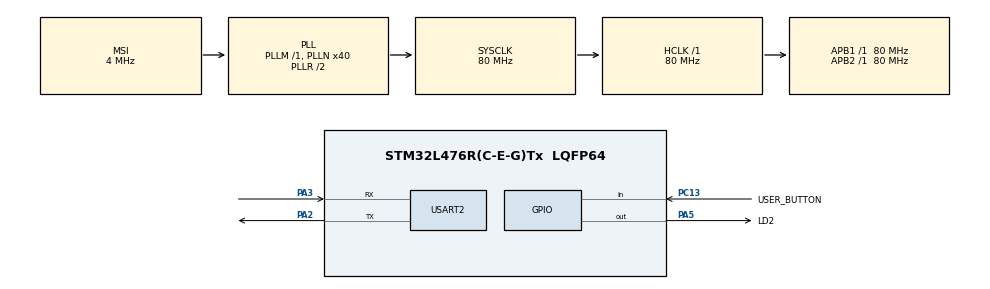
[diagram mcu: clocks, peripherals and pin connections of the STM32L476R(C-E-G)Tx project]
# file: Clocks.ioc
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IWDG.Prescaler=IWDG_PRESCALER_32
Mcu.Family=STM32L4
Mcu.Name=STM32L476R(C-E-G)Tx
Mcu.Package=LQFP64
NVIC.PriorityGroup=NVIC_PRIORITYGROUP_4
PA13\ (JTMS-SWDIO).Mode=Serial_Wire
PA13\ (JTMS-SWDIO).Signal=SYS_JTMS-SWDIO
PA14\ (JTCK-SWCLK).Mode=Serial_Wire
PA14\ (JTCK-SWCLK).Signal=SYS_JTCK-SWCLK
PA2.Mode=Asynchronous
PA2.Signal=USART2_TX
PA3.Mode=Asynchronous
PA3.Signal=USART2_RX
PA5.GPIO_Label=LD2
PA5.Signal=GPIO_Output
PC13.GPIO_Label=USER_BUTTON
PC13.Signal=GPIO_Input
PC14-OSC32_IN\ (PC14).Mode=LSE-External-Oscillator
PC14-OSC32_IN\ (PC14).Signal=RCC_OSC32_IN
PC15-OSC32_OUT\ (PC15).Mode=LSE-External-Oscillator
PC15-OSC32_OUT\ (PC15).Signal=RCC_OSC32_OUT
ProjectManager.HeapSize=0x200
ProjectManager.StackSize=0x400
ProjectManager.TargetToolchain=STM32CubeIDE
RCC.AHBFreq_Value=80000000
RCC.APB1Freq_Value=80000000
RCC.APB1TimFreq_Value=80000000
RCC.APB2Freq_Value=80000000
RCC.APB2TimFreq_Value=80000000
RCC.CortexFreq_Value=80000000
RCC.HCLKFreq_Value=80000000
RCC.HSE_VALUE=8000000
RCC.HSI_VALUE=16000000
RCC.MSI_VALUE=4000000
RCC.PLLN=40
RCC.RTCClockSelection=RCC_RTCCLKSOURCE_LSE
RCC.SYSCLKFreq_VALUE=80000000
RCC.SYSCLKSource=RCC_SYSCLKSOURCE_PLLCLK
RCC.VCOOutputFreq_Value=160000000
USART2.VirtualMode-Asynchronous=VM_ASYNC
VP_IWDG_VS_IWDG.Mode=IWDG_Activate
VP_RTC_VS_RTC_Activate.Mode=RTC_Enabled
board=custom

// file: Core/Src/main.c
/* USER CODE BEGIN Header */
/**
  ******************************************************************************
  * @file           : main.c
  * @brief          : Main program body
  ******************************************************************************
  * @attention
  *
  * Copyright (c) 2022 STMicroelectronics.
  * All rights reserved.
  *
  * This software is licensed under terms that can be found in the LICENSE file
  * in the root directory of this software component.
  * If no LICENSE file comes with this software, it is provided AS-IS.
  *
  ******************************************************************************
  */
/* USER CODE END Header */
#include "main.h"

/* USER CODE BEGIN Includes */
#include <stdio.h>
#include <string.h>
#include <stdbool.h>
/* USER CODE END Includes */

IWDG_HandleTypeDef hiwdg;

RTC_HandleTypeDef hrtc;

UART_HandleTypeDef huart2;

void SystemClock_Config(void);
static void MX_GPIO_Init(void);
static void MX_USART2_UART_Init(void);
static void MX_RTC_Init(void);
static void MX_IWDG_Init(void);

/* USER CODE BEGIN 0 */

int __io_putchar(int ch)
{
	if ( ch=='\n')
	{
		uint8_t ch2 = '\r';
		HAL_UART_Transmit(&huart2, (uint8_t*)&ch2, 1, HAL_MAX_DELAY);
	}
	HAL_UART_Transmit(&huart2, (uint8_t*)&ch, 1, HAL_MAX_DELAY);
	return 1;
}

bool is_button_pressed(void)
{
	if ( HAL_GPIO_ReadPin(USER_BUTTON_GPIO_Port, USER_BUTTON_Pin) == GPIO_PIN_RESET )
	{
		return true;
	}
	else
	{
		return false;
	}
}

/* USER CODE END 0 */

int main(void)
{

  /* MCU Configuration--------------------------------------------------------*/

  /* Reset of all peripherals, Initializes the Flash interface and the Systick. */
  HAL_Init();

  /* Configure the system clock */
  SystemClock_Config();

  /* Initialize all configured peripherals */
  MX_GPIO_Init();
  MX_USART2_UART_Init();
  MX_RTC_Init();
  MX_IWDG_Init();
  /* USER CODE BEGIN 2 */

  RTC_TimeTypeDef time;
  RTC_DateTypeDef date;
  RTC_TimeTypeDef new_time = {0};
  RTC_DateTypeDef new_date = {0};

  new_time.Hours = 11;
  new_time.Minutes = 59;
  new_time.Seconds = 50;
  new_date.Year = 22;
  new_date.Month = 12;
  new_date.Date = 5;
  new_date.WeekDay = RTC_WEEKDAY_MONDAY;

  HAL_RTC_SetTime(&hrtc, &new_time, RTC_FORMAT_BIN);
  HAL_RTC_SetDate(&hrtc, &new_date, RTC_FORMAT_BIN);

  int i;

  for (i = 0; i < 10; i++)
	  {
	  	  HAL_GPIO_TogglePin(LD2_GPIO_Port, LD2_Pin);
	  	  HAL_Delay(100);
	  }

  uint32_t last_ms = HAL_GetTick();

  /* USER CODE END 2 */

  /* Infinite loop */
  /* USER CODE BEGIN WHILE */
  while (1)
  {

	  HAL_RTC_GetTime(&hrtc, &time, RTC_FORMAT_BIN);
	  HAL_RTC_GetDate(&hrtc, &date, RTC_FORMAT_BIN);
	  printf("Current time: %02d:%02d:%02d\n", time.Hours, time.Minutes, time.Seconds);
	  printf("RTC: %04d-%02d-%02d, %02d:%02d:%02d\n", 2000 + date.Year, date.Month, date.Date, time.Hours, time.Minutes, time.Seconds);
	  HAL_Delay(1000);

	  uint32_t now = HAL_GetTick();

	  if ( is_button_pressed())
	  {
		  while(1) {}
	  }

	  if ( now - last_ms >= 500 )
	  {
		  HAL_GPIO_TogglePin(LD2_GPIO_Port, LD2_Pin);
		  last_ms = now;

		  HAL_IWDG_Refresh(&hiwdg);
	  }

    /* USER CODE END WHILE */

  }
}

void SystemClock_Config(void)
{
  RCC_OscInitTypeDef RCC_OscInitStruct = {0};
  RCC_ClkInitTypeDef RCC_ClkInitStruct = {0};

  /** Configure the main internal regulator output voltage
  */
  if (HAL_PWREx_ControlVoltageScaling(PWR_REGULATOR_VOLTAGE_SCALE1) != HAL_OK)
  {
    Error_Handler();
  }

  /** Configure LSE Drive Capability
  */
  HAL_PWR_EnableBkUpAccess();
  __HAL_RCC_LSEDRIVE_CONFIG(RCC_LSEDRIVE_LOW);

  /** Initializes the RCC Oscillators according to the specified parameters
  * in the RCC_OscInitTypeDef structure.
  */
  RCC_OscInitStruct.OscillatorType = RCC_OSCILLATORTYPE_LSI|RCC_OSCILLATORTYPE_LSE
                              |RCC_OSCILLATORTYPE_MSI;
  RCC_OscInitStruct.LSEState = RCC_LSE_ON;
  RCC_OscInitStruct.LSIState = RCC_LSI_ON;
  RCC_OscInitStruct.MSIState = RCC_MSI_ON;
  RCC_OscInitStruct.MSICalibrationValue = 0;
  RCC_OscInitStruct.MSIClockRange = RCC_MSIRANGE_6;
  RCC_OscInitStruct.PLL.PLLState = RCC_PLL_ON;
  RCC_OscInitStruct.PLL.PLLSource = RCC_PLLSOURCE_MSI;
  RCC_OscInitStruct.PLL.PLLM = 1;
  RCC_OscInitStruct.PLL.PLLN = 40;
  RCC_OscInitStruct.PLL.PLLP = RCC_PLLP_DIV7;
  RCC_OscInitStruct.PLL.PLLQ = RCC_PLLQ_DIV2;
  RCC_OscInitStruct.PLL.PLLR = RCC_PLLR_DIV2;
  if (HAL_RCC_OscConfig(&RCC_OscInitStruct) != HAL_OK)
  {
    Error_Handler();
  }

  /** Initializes the CPU, AHB and APB buses clocks
  */
  RCC_ClkInitStruct.ClockType = RCC_CLOCKTYPE_HCLK|RCC_CLOCKTYPE_SYSCLK
                              |RCC_CLOCKTYPE_PCLK1|RCC_CLOCKTYPE_PCLK2;
  RCC_ClkInitStruct.SYSCLKSource = RCC_SYSCLKSOURCE_PLLCLK;
  RCC_ClkInitStruct.AHBCLKDivider = RCC_SYSCLK_DIV1;
  RCC_ClkInitStruct.APB1CLKDivider = RCC_HCLK_DIV1;
  RCC_ClkInitStruct.APB2CLKDivider = RCC_HCLK_DIV1;

  if (HAL_RCC_ClockConfig(&RCC_ClkInitStruct, FLASH_LATENCY_4) != HAL_OK)
  {
    Error_Handler();
  }

  /** Enable MSI Auto calibration
  */
  HAL_RCCEx_EnableMSIPLLMode();
}

static void MX_IWDG_Init(void)
{

  hiwdg.Instance = IWDG;
  hiwdg.Init.Prescaler = IWDG_PRESCALER_32;
  hiwdg.Init.Window = 4095;
  hiwdg.Init.Reload = 4095;
  if (HAL_IWDG_Init(&hiwdg) != HAL_OK)
  {
    Error_Handler();
  }

}

static void MX_RTC_Init(void)
{

  /** Initialize RTC Only
  */
  hrtc.Instance = RTC;
  hrtc.Init.HourFormat = RTC_HOURFORMAT_24;
  hrtc.Init.AsynchPrediv = 127;
  hrtc.Init.SynchPrediv = 255;
  hrtc.Init.OutPut = RTC_OUTPUT_DISABLE;
  hrtc.Init.OutPutRemap = RTC_OUTPUT_REMAP_NONE;
  hrtc.Init.OutPutPolarity = RTC_OUTPUT_POLARITY_HIGH;
  hrtc.Init.OutPutType = RTC_OUTPUT_TYPE_OPENDRAIN;
  if (HAL_RTC_Init(&hrtc) != HAL_OK)
  {
    Error_Handler();
  }

}

static void MX_USART2_UART_Init(void)
{

  huart2.Instance = USART2;
  huart2.Init.BaudRate = 115200;
  huart2.Init.WordLength = UART_WORDLENGTH_8B;
  huart2.Init.StopBits = UART_STOPBITS_1;
  huart2.Init.Parity = UART_PARITY_NONE;
  huart2.Init.Mode = UART_MODE_TX_RX;
  huart2.Init.HwFlowCtl = UART_HWCONTROL_NONE;
  huart2.Init.OverSampling = UART_OVERSAMPLING_16;
  huart2.Init.OneBitSampling = UART_ONE_BIT_SAMPLE_DISABLE;
  huart2.AdvancedInit.AdvFeatureInit = UART_ADVFEATURE_NO_INIT;
  if (HAL_UART_Init(&huart2) != HAL_OK)
  {
    Error_Handler();
  }

}

static void MX_GPIO_Init(void)
{
  GPIO_InitTypeDef GPIO_InitStruct = {0};

  /* GPIO Ports Clock Enable */
  __HAL_RCC_GPIOC_CLK_ENABLE();
  __HAL_RCC_GPIOA_CLK_ENABLE();

  /*Configure GPIO pin Output Level */
  HAL_GPIO_WritePin(LD2_GPIO_Port, LD2_Pin, GPIO_PIN_RESET);

  /*Configure GPIO pin : USER_BUTTON_Pin */
  GPIO_InitStruct.Pin = USER_BUTTON_Pin;
  GPIO_InitStruct.Mode = GPIO_MODE_INPUT;
  GPIO_InitStruct.Pull = GPIO_NOPULL;
  HAL_GPIO_Init(USER_BUTTON_GPIO_Port, &GPIO_InitStruct);

  /*Configure GPIO pin : LD2_Pin */
  GPIO_InitStruct.Pin = LD2_Pin;
  GPIO_InitStruct.Mode = GPIO_MODE_OUTPUT_PP;
  GPIO_InitStruct.Pull = GPIO_NOPULL;
  GPIO_InitStruct.Speed = GPIO_SPEED_FREQ_LOW;
  HAL_GPIO_Init(LD2_GPIO_Port, &GPIO_InitStruct);

}

void Error_Handler(void)
{
  __disable_irq();
  while (1)
  {
  }
}
